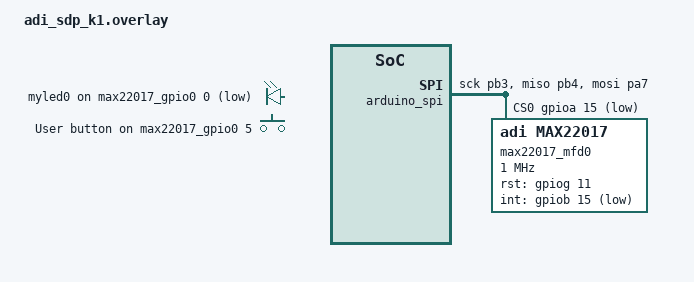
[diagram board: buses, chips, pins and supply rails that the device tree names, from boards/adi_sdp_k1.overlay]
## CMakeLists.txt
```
# SPDX-License-Identifier: Apache-2.0

cmake_minimum_required(VERSION 3.28.0)
find_package(Zephyr REQUIRED HINTS $ENV{ZEPHYR_BASE})
project(button)

target_sources(app PRIVATE src/main.c)
```

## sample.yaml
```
sample:
  name: Button Sample
tests:
  sample.basic.button:
    integration_platforms:
      - nrf52833dk/nrf52820
    build_only: true
```

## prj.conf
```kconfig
CONFIG_GPIO=y
CONFIG_INPUT=y
CONFIG_LED=y
```

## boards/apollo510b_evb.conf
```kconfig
#
# Copyright 2025 Ambiq
#
# SPDX-License-Identifier: Apache-2.0
#
CONFIG_PM=y
```

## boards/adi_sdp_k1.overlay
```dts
/ {
	aliases {
		led0 = &myled0;
		sw0  = &button0;
	};

	leds {
		compatible = "gpio-leds";
		myled0: led_0 {
			gpios = <&max22017_gpio0 0 GPIO_ACTIVE_LOW>;
		};
	};

	buttons {
		compatible = "gpio-keys";
		button0: button_0 {
		gpios = <&max22017_gpio0 5 GPIO_ACTIVE_HIGH>;
		label = "User button";
		};
	};
};

&arduino_spi {
	status = "okay";
	pinctrl-names = "default";
	pinctrl-0 = <&spi1_sck_pb3 &spi1_miso_pb4 &spi1_mosi_pa7>;
	cs-gpios = <&gpioa 15 (GPIO_ACTIVE_LOW | GPIO_PULL_UP)>;

	max22017_mfd0: max22017_mfd@0 {
		compatible = "adi,max22017";
		spi-max-frequency = <1000000>;
		reg = <0>;
		rst-gpios = <&gpiog 11 GPIO_ACTIVE_HIGH>;
		int-gpios = <&gpiob 15 GPIO_ACTIVE_LOW>;
		crc-mode;
		status = "okay";

		max22017_gpio0: max22017-gpio {
			compatible = "adi,max22017-gpio";
			gpio-controller;
			ngpios = <5>;
			#gpio-cells = <2>;
			status = "okay";
		};
	};
};
```

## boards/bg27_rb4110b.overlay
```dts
/*
 * Copyright (c) 2025 Silicon Laboratories Inc.
 *
 * SPDX-License-Identifier: Apache-2.0
 */

/ {
	aliases {
		/* led0 interferes with sw0 since it uses the same pin */
		/delete-property/ led0;
	};
};
```

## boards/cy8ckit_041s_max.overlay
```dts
/*
 * SPDX-FileCopyrightText: Copyright (c) 2026 Infineon Technologies AG,
 * SPDX-FileCopyrightText: or an affiliate of Infineon Technologies AG. All rights reserved.
 *
 * SPDX-License-Identifier: Apache-2.0
 */

/ {
	aliases {
		sw0 = &user_btn;
	};

	gpio_keys {
		compatible = "gpio-keys";

		user_btn: button_0 {
			label = "SW_0";
			gpios = <&gpio_prt11 5 (GPIO_PULL_UP | GPIO_ACTIVE_LOW)>;
			zephyr,code = <INPUT_KEY_0>;
		};
	};
};

&gpio_prt11 {
	status = "okay";
};
```

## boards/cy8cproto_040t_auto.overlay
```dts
/*
 * SPDX-FileCopyrightText: Copyright (c) 2026 Infineon Technologies AG,
 * SPDX-FileCopyrightText: or an affiliate of Infineon Technologies AG. All rights reserved.
 *
 * SPDX-License-Identifier: Apache-2.0
 */

#include <zephyr/dt-bindings/input/input-event-codes.h>

/* SW4 shares its pin with LED1; see board doc note on header J6 */
/ {
	aliases {
		sw0 = &user_btn;
	};

	gpio_keys {
		compatible = "gpio-keys";

		user_btn: button_0 {
			label = "SW4";
			gpios = <&gpio_prt3 0 (GPIO_PULL_UP | GPIO_ACTIVE_LOW)>;
			zephyr,code = <INPUT_KEY_0>;
		};
	};
};

/* led_gpio ignores child status, so the node must be deleted, not disabled */
/delete-node/ &user_led1;

&{/aliases} {
	/delete-property/ led1;
};
```

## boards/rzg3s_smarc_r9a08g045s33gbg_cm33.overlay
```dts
/*
 * Copyright (c) 2024 Renesas Electronics Corporation
 * SPDX-License-Identifier: Apache-2.0
 */

&gpio {
	status = "okay";
};

&gpio18 {
	irqs = <0 16>;
};
```

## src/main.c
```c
/*
 * SPDX-FileCopyrightText: Copyright The Zephyr Project Contributors
 * SPDX-License-Identifier: Apache-2.0
 */

#include <inttypes.h>
#include <zephyr/drivers/led.h>
#include <zephyr/input/input.h>
#include <zephyr/kernel.h>
#include <zephyr/sys/printk.h>

#define LED0_NODE DT_ALIAS(led0)

#if DT_NODE_HAS_STATUS_OKAY(DT_PARENT(LED0_NODE))
static const struct led_dt_spec led0 = LED_DT_SPEC_GET(LED0_NODE);
#else
static const struct led_dt_spec led0;
#endif

static void button_input_cb(struct input_event *evt, void *user_data)
{
	if (evt->sync == 0) {
		return;
	}

	printk("Button %d %s at %" PRIu32 "\n",
	       evt->code,
	       evt->value ? "pressed" : "released",
	       k_cycle_get_32());

	if (led0.dev != NULL) {
		led_set_brightness_dt(&led0, evt->value ? 100 : 0);
	}
}

INPUT_CALLBACK_DEFINE(NULL, button_input_cb, NULL);

int main(void)
{
	printk("Press the button\n");

	k_sleep(K_FOREVER);

	return 0;
}
```
